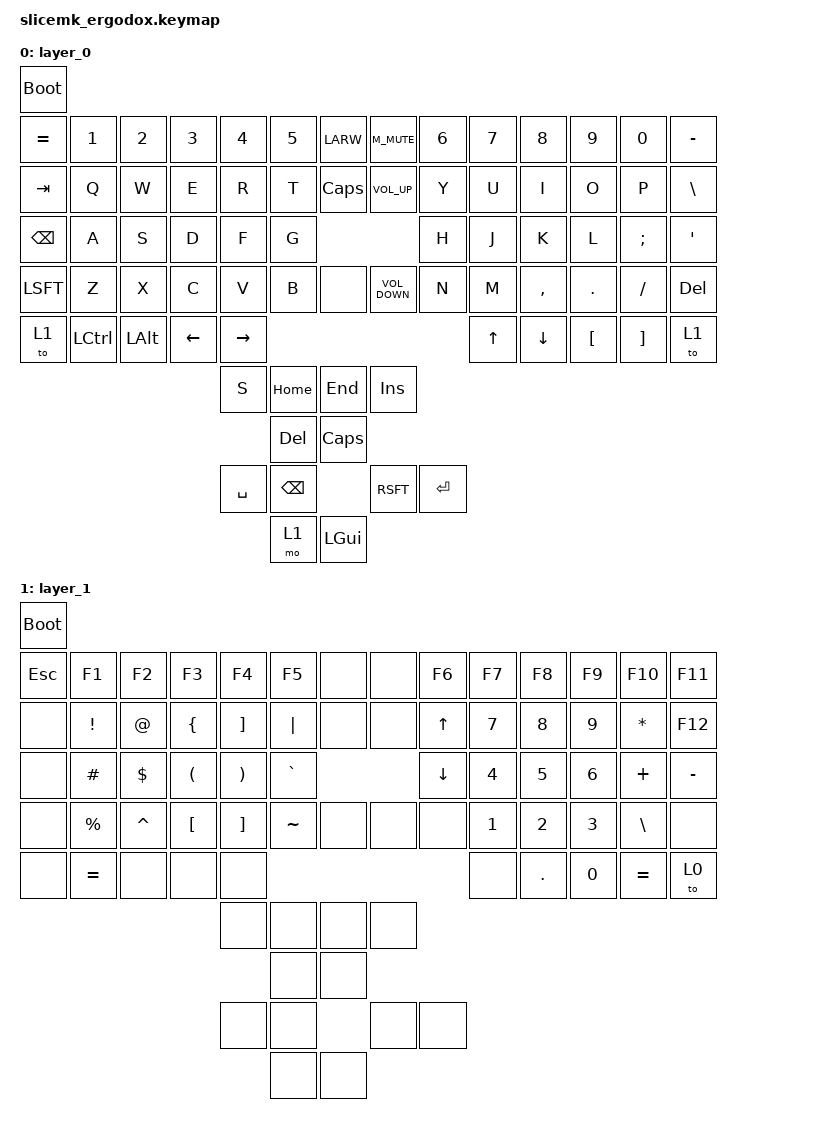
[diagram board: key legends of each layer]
#include <behaviors.dtsi>
#include <dt-bindings/zmk/bt.h>
#include <dt-bindings/zmk/keys.h>
#include <dt-bindings/zmk/outputs.h>

/ {
        keymap {
                compatible = "zmk,keymap";

                layer_0 {
                        bindings = <
    &bootloader
    &kp EQUAL  &kp NUM_1  &kp NUM_2  &kp NUM_3         &kp NUM_4        &kp NUM_5  &kp LARW   &kp M_MUTE        &kp NUM_6  &kp NUM_7    &kp NUM_8       &kp NUM_9        &kp NUM_0              &kp MINUS
    &kp TAB    &kp Q      &kp W      &kp E             &kp R            &kp T      &kp CLCK   &kp C_VOLUME_UP   &kp Y      &kp U        &kp I           &kp O            &kp P                  &kp BACKSLASH
    &kp BKSP   &kp A      &kp S      &kp D             &kp F            &kp G                                   &kp H      &kp J        &kp K           &kp L            &kp SCLN               &kp APOSTROPHE
    &kp LSFT   &kp Z      &kp X      &kp C             &kp V            &kp B      &none  &kp C_VOLUME_DOWN &kp N      &kp M        &kp COMMA       &kp DOT          &kp FSLH               &kp DEL
    &to 1      &kp LCTL   &kp LALT   &kp LEFT_ARROW    &kp RIGHT_ARROW                                                     &kp UP_ARROW &kp DOWN_ARROW  &kp LEFT_BRACKET &kp RIGHT_BRACKET      &to 1
                                                           &kp S    &kp HOME   &kp END    &kp INS
                                                                      &kp DEL   &kp CAPSLOCK
                                                &kp SPC    &kp BKSP                         &kp RSFT   &kp RET
                                                                      &mo 1  &kp LGUI
                        >;
                };

                layer_1 {
                        bindings = <
    &bootloader
    &kp ESC      &kp F1      &kp F2      &kp F3      &kp F4      &kp F5      &none      &none      &kp F6      &kp F7      &kp F8      &kp F9     &kp F10       &kp F11
    &none      &kp EXCLAMATION     &kp AT_SIGN     &kp LEFT_BRACE     &kp RIGHT_BRACKET     &kp PIPE      &none      &none      &kp UP_ARROW      &kp NUM_7      &kp NUM_8      &kp NUM_9      &kp ASTERISK      &kp F12
    &none      &kp HASH     &kp DOLLAR     &kp LEFT_PARENTHESIS     &kp RIGHT_PARENTHESIS     &kp GRAVE                            &kp DOWN_ARROW      &kp NUM_4      &kp NUM_5      &kp NUM_6      &kp PLUS      &kp MINUS
    &none      &kp PERCENT     &kp CARET    &kp LEFT_BRACKET    &kp RIGHT_BRACKET    &kp TILDE      &none      &none      &none      &kp NUM_1      &kp NUM_2      &kp  NUM_3     &kp BSLH      &none
    &none      &kp EQUAL      &none      &none      &none                                                  &none      &kp DOT      &kp NUM_0      &kp EQUAL      &to 0
                                                           &none      &none      &none      &none
                                                                      &none      &none
                                                &none      &none                            &none      &none
                                                                      &none      &none
                        >;
                };

        };
};
